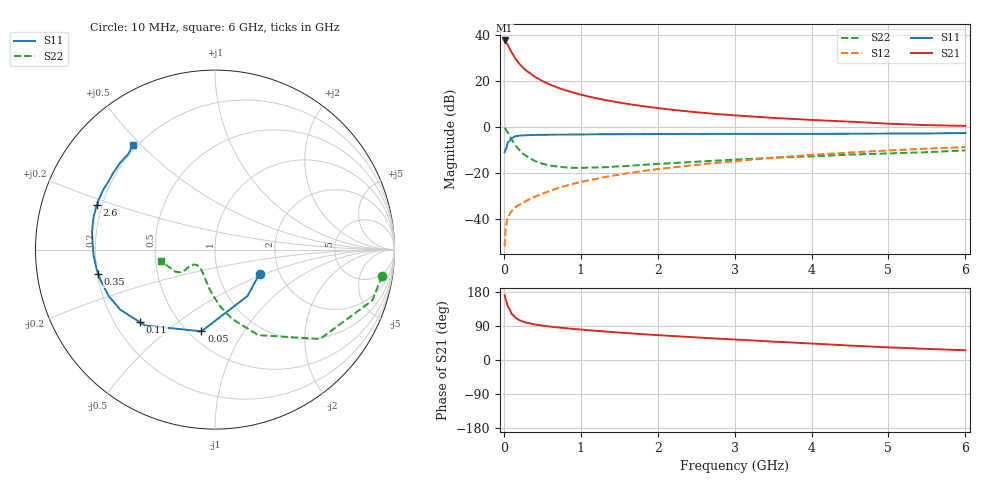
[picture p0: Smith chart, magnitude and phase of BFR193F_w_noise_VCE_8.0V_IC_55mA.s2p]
! Infineon Technologies  Discrete & RF Semiconductors
! BFR193F
! VCE =  8.0 V,  IC =  55 mA
! Common Emitter S-Parameters:  Jan 2017
# GHz  S  MA  R  50
!  f  S11  S21  S12  S22
! GHz  MAG  ANG  MAG  ANG  MAG  ANG  MAG  ANG
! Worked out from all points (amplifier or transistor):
!   77 points, 10 MHz to 6 GHz, reference 50 ohm
!   highest |S21| = 37.4 dB at 10 MHz (marker M1)
!   |S21| within 3 dB of that: start of sweep to 67.6 MHz
!   unconditionally stable (mu >= 1): 919.8 MHz to 2.607 GHz
!   at 130 MHz: K = 0.48, MSG = 33.1 dB, |S12| = -35.5 dB
!   at 2.2 GHz: K = 1.02, MAG = 11.7 dB, |S12| = -17.6 dB
!   at 6 GHz: K = 0.85, MSG = 4.6 dB, |S12| = -8.8 dB
!   lowest NFmin = 1.56 dB at 450 MHz
!   S11 on the Smith chart (normalised r, x): 10 MHz: 1.58, -0.46; 50 MHz: 0.58, -0.67; 110 MHz: 0.30, -0.37; 350 MHz: 0.20, -0.10; 2.6 GHz: 0.18, +0.18; 6 GHz: 0.19, +0.47
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0.01  0.2824 -28.2  74.52 171.1  0.0026 85.8  0.9424 -8.9
0.02  0.3158 -54.9  71.86 162.5  0.0054 74.8  0.9209 -17.9
0.05  0.4616 -99.4  59.94 142.2  0.0108 63.5  0.7685 -40.4
0.1  0.5753 -132.7  41.44 121.9  0.0149 52.5  0.534 -63.2
0.11  0.5819 -135.9  39.13 120.3  0.0155 52.5  0.5048 -65.2
0.15  0.6249 -147.6  30.28 111.7  0.0181 52.3  0.3965 -76.3
0.2  0.6452 -156.0  23.54 105.4  0.0204 53.4  0.318 -84.7
0.25  0.6534 -161.8  19.13 101.3  0.0225 54.9  0.2621 -91.4
0.3  0.6611 -165.4  16.14 98.3  0.0254 58.7  0.2289 -96.8
0.35  0.6644 -168.1  14.17 96.4  0.0278 60.7  0.2058 -100.6
0.4  0.6692 -170.8  12.23 93.8  0.0303 62.3  0.1839 -105.4
0.5  0.6712 -174.1  9.856 90.8  0.0356 65.6  0.1597 -112.3
0.6  0.6769 -176.9  8.258 88.2  0.0411 67.8  0.1448 -118.2
0.8  0.6787 179.0  6.216 84.0  0.0523 70.4  0.1324 -127.7
1.1  0.6878 174.3  4.553 78.6  0.0691 72.8  0.131 -136.0
1.5  0.694 169.5  3.371 72.5  0.0922 73.9  0.1396 -142.9
2.1  0.7009 163.4  2.445 64.5  0.1269 73.7  0.1608 -146.4
2.6  0.7015 159.3  2.006 58.5  0.1562 72.8  0.1794 -146.2
3.1  0.7048 155.1  1.734 53.0  0.1868 72.0  0.1986 -145.6
4.1  0.7054 146.3  1.39 42.4  0.2526 68.0  0.234 -147.6
5.1  0.7161 136.6  1.155 32.5  0.3141 62.6  0.2688 -157.5
6  0.7381 128.2  1.052 25.6  0.364 57.3  0.3099 -167.8
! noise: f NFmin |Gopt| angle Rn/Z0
0.45  1.56  0.48  -179  0.07
0.9  1.64  0.49  -177  0.08
1.9  2.22  0.6  -163  0.1
2.4  2.54  0.62  -155  0.16
